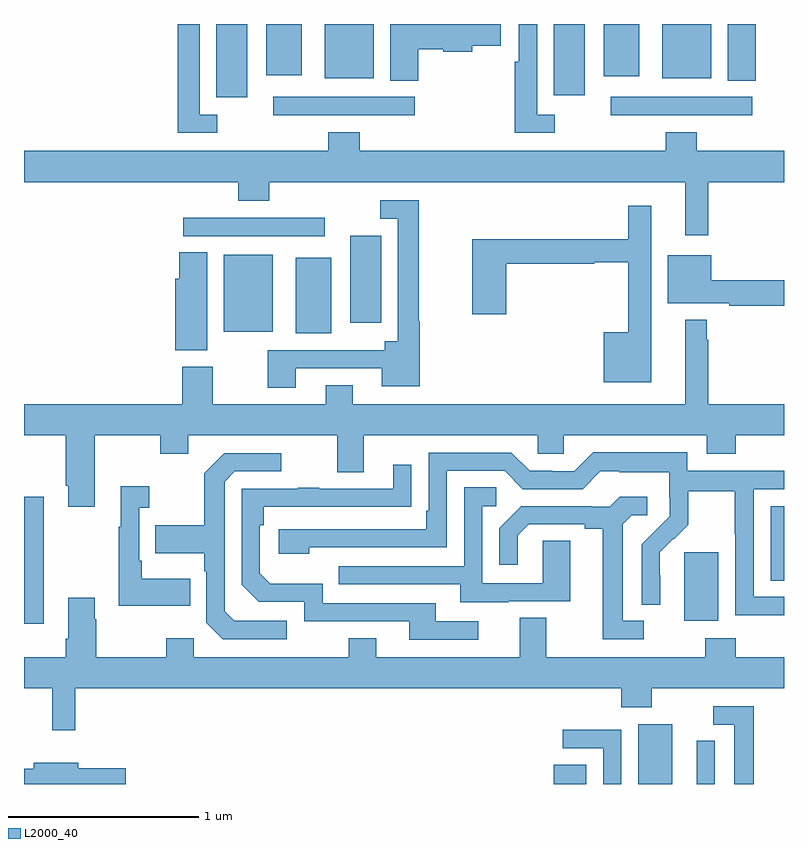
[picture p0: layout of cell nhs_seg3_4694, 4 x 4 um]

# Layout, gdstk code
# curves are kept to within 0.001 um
import gdstk
lib = gdstk.Library(unit=1e-6, precision=1e-09)
def R(c, l, rs):  # rectangles x0, y0, x1, y1
    for r in rs: c.add(gdstk.rectangle(r[:2], r[2:], *l))
def P(c, l, *ps):  # polygons
    for p in ps: c.add(gdstk.Polygon(p, *l))
L2000_40 = (2000, 40)

nhs_seg3_4694 = lib.new_cell('nhs_seg3_4694')
R(nhs_seg3_4694, L2000_40, [(365.789,712.4,365.959,712.502), (366.233,712.4,366.412,712.714), (363,713.244,363.103,713.911), (366.476,713.258,366.655,713.619), (366.929,713.47,367,713.863), (364.43,714.773,364.618,715.171), (364.052,714.779,364.309,715.186), (364.718,714.828,364.879,715.285), (363.837,715.284,364.582,715.38), (364.311,715.92,365.056,716.016), (366.087,715.92,366.832,716.016), (364.013,716.015,364.174,716.4), (365.789,716.025,365.95,716.4), (366.704,716.101,366.851,716.4), (364.583,716.114,364.84,716.4), (366.359,716.114,366.616,716.4), (366.05,716.126,366.238,716.4), (364.274,716.129,364.462,716.4)])
P(nhs_seg3_4694, L2000_40, [(365.794,715.923),(365.7,715.923),(365.7,716.4),(365.604,716.4),(365.604,716.201),(365.584,716.201),(365.584,715.827),(365.794,715.827)],
  [(364.018,715.923),(363.924,715.923),(363.924,716.4),(363.808,716.4),(363.808,715.827),(364.018,715.827)],
  [(365.075,716.267),(365.207,716.267),(365.207,716.255),(365.359,716.255),(365.359,716.285),(365.509,716.285),(365.509,716.4),(364.928,716.4),(364.928,716.101),(365.075,716.101)],
  [(366.601,715.568),(367,715.568),(367,715.732),(366.542,715.732),(366.542,715.831),(366.377,715.831),(366.377,715.732),(364.766,715.732),(364.766,715.831),(364.601,715.831),(364.601,715.732),(363,715.732),(363,715.568),(364.127,715.568),(364.127,715.469),(364.292,715.469),(364.292,715.568),(366.479,715.568),(366.479,715.287),(366.601,715.287)],
  [(364.429,714.588),(364.883,714.588),(364.883,714.494),(365.084,714.494),(365.084,714.836),(365.077,714.836),(365.077,715.473),(364.875,715.473),(364.875,715.376),(364.968,715.376),(364.968,714.73),(364.898,714.73),(364.898,714.684),(364.282,714.684),(364.282,714.486),(364.429,714.486)],
  [(366.301,715.444),(366.18,715.444),(366.18,715.267),(365.359,715.267),(365.359,714.873),(365.537,714.873),(365.537,715.138),(366.001,715.138),(366.001,715.146),(366.18,715.146),(366.18,714.778),(366.05,714.778),(366.05,714.515),(366.301,714.515)],
  [(363.964,715.199),(363.818,715.199),(363.818,715.059),(363.797,715.059),(363.797,714.683),(363.964,714.683)],
  [(367,715.052),(366.616,715.052),(366.616,715.183),(366.389,715.183),(366.389,714.929),(366.712,714.929),(366.712,714.916),(367,714.916)],
  [(363.833,714.4),(363,714.4),(363,714.236),(363.221,714.236),(363.221,713.971),(363.233,713.971),(363.233,713.859),(363.373,713.859),(363.373,714.236),(363.718,714.236),(363.718,714.137),(363.865,714.137),(363.865,714.236),(364.649,714.236),(364.649,714.042),(364.789,714.042),(364.789,714.236),(365.703,714.236),(365.703,714.138),(365.841,714.138),(365.841,714.236),(366.593,714.236),(366.593,714.137),(366.746,714.137),(366.746,714.236),(367,714.236),(367,714.4),(366.601,714.4),(366.601,714.737),(366.594,714.737),(366.594,714.844),(366.479,714.844),(366.479,714.4),(364.729,714.4),(364.729,714.499),(364.589,714.499),(364.589,714.4),(363.993,714.4),(363.993,714.595),(363.833,714.595)],
  [(367,713.385),(366.84,713.385),(366.84,713.952),(367,713.952),(367,714.048),(366.492,714.048),(366.492,714.145),(365.995,714.145),(365.895,714.045),(365.78,714.045),(365.78,714.048),(365.661,714.048),(365.565,714.144),(365.13,714.144),(365.13,713.839),(365.117,713.839),(365.117,713.742),(364.341,713.742),(364.341,713.612),(364.502,713.612),(364.502,713.646),(365.226,713.646),(365.226,714.048),(365.529,714.048),(365.625,713.952),(365.94,713.952),(366.033,714.045),(366.133,714.045),(366.133,714.041),(366.396,714.041),(366.396,713.907),(366.398,713.907),(366.398,713.81),(366.252,713.662),(366.252,713.344),(366.348,713.344),(366.347,713.621),(366.417,713.691),(366.42,713.688),(366.497,713.765),(366.497,713.94),(366.742,713.94),(366.742,713.716),(366.744,713.716),(366.744,713.287),(367,713.287)],
  [(364.384,713.259),(364.107,713.259),(364.056,713.31),(364.056,713.991),(364.11,714.045),(364.354,714.045),(364.354,714.141),(364.053,714.141),(363.948,714.035),(363.948,713.763),(363.691,713.763),(363.691,713.615),(363.948,713.615),(363.948,713.519),(363.96,713.519),(363.96,713.25),(364.047,713.163),(364.384,713.163)],
  [(365.392,713.256),(365.167,713.256),(365.167,713.352),(364.572,713.352),(364.572,713.455),(364.295,713.455),(364.242,713.508),(364.242,713.762),(364.262,713.762),(364.262,713.859),(365.039,713.86),(365.039,714.079),(364.943,714.079),(364.943,713.955),(364.553,713.955),(364.553,713.96),(364.441,713.96),(364.441,713.955),(364.146,713.955),(364.146,713.448),(364.236,713.358),(364.476,713.358),(364.476,713.256),(365.027,713.256),(365.027,713.16),(365.392,713.16)],
  [(363.875,713.479),(363.619,713.479),(363.619,713.575),(363.606,713.575),(363.606,713.855),(363.658,713.855),(363.658,713.968),(363.509,713.968),(363.509,713.755),(363.498,713.755),(363.498,713.339),(363.875,713.339)],
  [(365.551,713.361),(365.875,713.361),(365.875,713.681),(365.73,713.681),(365.73,713.457),(365.412,713.457),(365.412,713.862),(365.485,713.862),(365.485,713.963),(365.316,713.963),(365.316,713.547),(364.657,713.547),(364.657,713.451),(365.297,713.451),(365.297,713.357),(365.551,713.357)],
  [(366.262,713.259),(366.151,713.259),(366.151,713.767),(366.198,713.814),(366.28,713.814),(366.28,713.911),(366.136,713.911),(366.084,713.859),(365.99,713.859),(365.99,713.862),(365.618,713.862),(365.502,713.746),(365.502,713.553),(365.599,713.553),(365.599,713.709),(365.656,713.766),(365.951,713.766),(365.951,713.744),(366.047,713.744),(366.047,713.163),(366.262,713.163)],
  [(363.271,712.904),(366.143,712.904),(366.143,712.805),(366.303,712.805),(366.303,712.904),(367,712.904),(367,713.068),(366.746,713.068),(366.746,713.167),(366.586,713.167),(366.586,713.068),(365.749,713.068),(365.749,713.276),(365.609,713.276),(365.609,713.068),(364.855,713.068),(364.855,713.167),(364.708,713.167),(364.708,713.068),(363.894,713.068),(363.894,713.167),(363.748,713.167),(363.748,713.068),(363.381,713.068),(363.381,713.267),(363.373,713.267),(363.373,713.38),(363.233,713.38),(363.233,713.164),(363.221,713.164),(363.221,713.068),(363,713.068),(363,712.904),(363.149,712.904),(363.149,712.683),(363.271,712.683)],
  [(366.841,712.809),(366.627,712.809),(366.627,712.713),(366.737,712.713),(366.737,712.4),(366.841,712.4)],
  [(366.144,712.686),(365.835,712.686),(365.835,712.587),(366.048,712.587),(366.048,712.4),(366.144,712.4)],
  [(366.636,712.628),(366.54,712.628),(366.54,712.474),(366.542,712.474),(366.542,712.4),(366.636,712.4)],
  [(363.535,712.482),(363.286,712.482),(363.286,712.513),(363.05,712.513),(363.05,712.481),(363,712.481),(363,712.4),(363.535,712.4)])

lib.write_gds('nhs_seg3_4694.gds')
